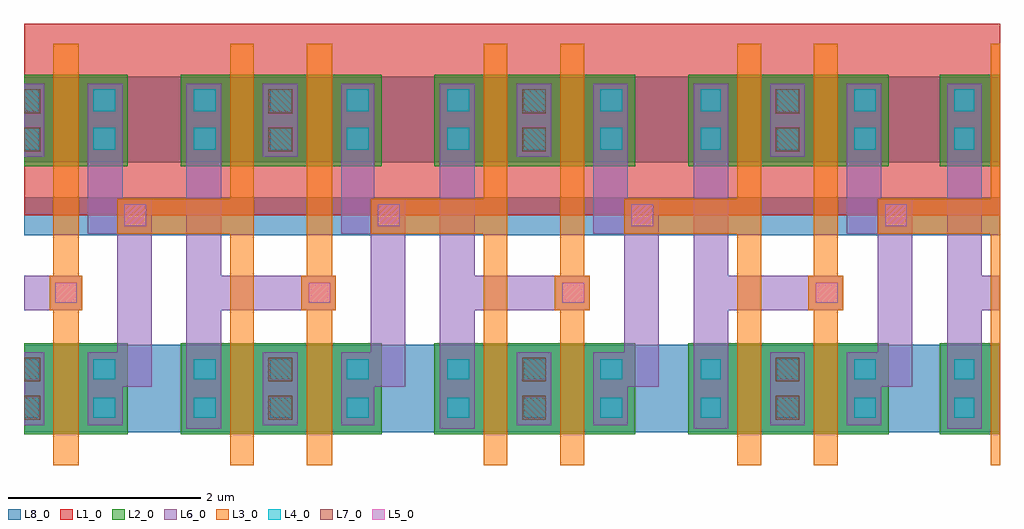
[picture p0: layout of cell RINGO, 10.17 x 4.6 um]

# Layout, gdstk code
import gdstk
lib = gdstk.Library(unit=1e-6, precision=1e-09)
def R(c, l, rs):  # rectangles x0, y0, x1, y1
    for r in rs: c.add(gdstk.rectangle(r[:2], r[2:], *l))
def P(c, l, *ps):  # polygons
    for p in ps: c.add(gdstk.Polygon(p, *l))
L1_0 = (1, 0)
L2_0 = (2, 0)
L3_0 = (3, 0)
L4_0 = (4, 0)
L5_0 = (5, 0)
L6_0 = (6, 0)
L7_0 = (7, 0)
L8_0 = (8, 0)

trans = lib.new_cell('TRANS')

inv2 = lib.new_cell('INV2')
inv2.add(gdstk.Reference(trans, (-0.4,0)))
inv2.add(gdstk.Reference(trans, (-0.4,2.8)))
inv2.add(gdstk.Reference(trans, (0.4,0), x_reflection=True))
inv2.add(gdstk.Reference(trans, (0.4,2.8), x_reflection=True))

trans_clip_var = lib.new_cell('TRANS$CLIP_VAR')
R(trans_clip_var, L2_0, [(0.363,-0.475,0.648,0.475)])
R(trans_clip_var, L4_0, [(0.363,-0.304,0.515,-0.095), (0.363,0.095,0.515,0.304)])
R(trans_clip_var, L6_0, [(0.363,-0.38,0.572,0.38)])

trans_clip_var_1 = lib.new_cell('TRANS$CLIP_VAR$1')
R(trans_clip_var_1, L2_0, [(-0.437,-0.475,0.646,0.475)])
R(trans_clip_var_1, L3_0, [(-0.133,-0.798,0.133,0.798)])
R(trans_clip_var_1, L4_0, [(-0.437,-0.304,-0.285,-0.095), (0.285,-0.304,0.513,-0.095), (-0.437,0.095,-0.285,0.304), (0.285,0.095,0.513,0.304)])
R(trans_clip_var_1, L6_0, [(-0.437,-0.38,-0.228,0.38), (0.228,-0.38,0.589,0.38)])

trans_clip_var_1_var1 = lib.new_cell('TRANS$CLIP_VAR$1$VAR1')
R(trans_clip_var_1_var1, L2_0, [(-0.437,-0.468,0.646,0.482)])
R(trans_clip_var_1_var1, L3_0, [(-0.133,-0.791,0.133,0.805)])
R(trans_clip_var_1_var1, L4_0, [(-0.437,-0.316,-0.285,-0.088), (0.285,-0.316,0.513,-0.088), (-0.437,0.083,-0.285,0.311), (0.285,0.083,0.513,0.311)])
R(trans_clip_var_1_var1, L6_0, [(-0.437,-0.373,-0.228,0.387), (0.228,-0.373,0.589,0.387)])

trans_clip_var_var1 = lib.new_cell('TRANS$CLIP_VAR$VAR1')
R(trans_clip_var_var1, L2_0, [(0.363,-0.482,0.648,0.468)])
R(trans_clip_var_var1, L4_0, [(0.363,-0.311,0.515,-0.083), (0.363,0.088,0.515,0.316)])
R(trans_clip_var_var1, L6_0, [(0.363,-0.387,0.572,0.373)])

inv2_clip_var = lib.new_cell('INV2$CLIP_VAR')
R(inv2_clip_var, L1_0, [(-0.037,1.805,1.407,3.8)])
R(inv2_clip_var, L3_0, [(0.267,-0.247,0.533,2.242), (0.229,0.817,0.571,1.178)])
R(inv2_clip_var, L5_0, [(0.286,0.893,0.514,1.102)])
R(inv2_clip_var, L6_0, [(-0.037,0.817,0.571,1.178)])
P(inv2_clip_var, L6_0, [(0.799,0.019),(0.799,0.38),(0.932,0.38),(0.932,1.615),(0.628,1.615),(0.628,2.413),(0.989,2.413),(0.989,1.976),(1.293,1.976),(1.293,0.019)])
R(inv2_clip_var, L7_0, [(-0.037,-0.323,0.134,-0.076), (-0.037,0.076,0.134,0.323), (-0.037,2.47,0.134,2.717), (-0.037,2.869,0.134,3.116)])
R(inv2_clip_var, L8_0, [(-0.037,-0.456,1.407,0.456), (-0.037,2.356,1.407,3.249)])
inv2_clip_var.add(gdstk.Reference(trans_clip_var, (-0.4,0)))
inv2_clip_var.add(gdstk.Reference(trans_clip_var_1, (0.4,0), x_reflection=True))
inv2_clip_var.add(gdstk.Reference(trans_clip_var_1_var1, (0.4,2.8), x_reflection=True))
inv2_clip_var.add(gdstk.Reference(trans_clip_var_var1, (-0.4,2.8)))

trans_1 = lib.new_cell('TRANS$1')
R(trans_1, L2_0, [(-0.641,-0.475,0.651,0.475)])
R(trans_1, L3_0, [(-0.128,-0.798,0.119,0.798)])
R(trans_1, L4_0, [(-0.508,-0.304,-0.299,-0.095), (0.29,-0.304,0.518,-0.095), (-0.508,0.095,-0.299,0.304), (0.29,0.095,0.518,0.304)])
R(trans_1, L6_0, [(-0.584,-0.38,-0.223,0.38), (0.214,-0.38,0.575,0.38)])

trans_var2 = lib.new_cell('TRANS$VAR2')
R(trans_var2, L2_0, [(-0.643,-0.475,0.649,0.475)])
R(trans_var2, L3_0, [(-0.13,-0.798,0.117,0.798)])
R(trans_var2, L4_0, [(-0.51,-0.304,-0.282,-0.095), (0.288,-0.304,0.516,-0.095), (-0.51,0.095,-0.282,0.304), (0.288,0.095,0.516,0.304)])
R(trans_var2, L6_0, [(-0.586,-0.38,-0.225,0.38), (0.212,-0.38,0.573,0.38)])

trans_var6 = lib.new_cell('TRANS$VAR6')
R(trans_var6, L2_0, [(-0.641,-0.482,0.651,0.468)])
R(trans_var6, L3_0, [(-0.128,-0.805,0.119,0.791)])
R(trans_var6, L4_0, [(-0.508,-0.311,-0.299,-0.083), (0.29,-0.311,0.518,-0.083), (-0.508,0.088,-0.299,0.316), (0.29,0.088,0.518,0.316)])
R(trans_var6, L6_0, [(-0.584,-0.387,-0.223,0.373), (0.214,-0.387,0.575,0.373)])

trans_var8 = lib.new_cell('TRANS$VAR8')
R(trans_var8, L2_0, [(-0.643,-0.468,0.649,0.482)])
R(trans_var8, L3_0, [(-0.13,-0.791,0.117,0.805)])
R(trans_var8, L4_0, [(-0.51,-0.316,-0.282,-0.088), (0.288,-0.316,0.516,-0.088), (-0.51,0.083,-0.282,0.311), (0.288,0.083,0.516,0.311)])
R(trans_var8, L6_0, [(-0.586,-0.373,-0.225,0.387), (0.212,-0.373,0.573,0.387)])

inv2_1 = lib.new_cell('INV2$1')
R(inv2_1, L1_0, [(-1.402,1.805,1.391,3.8)])
R(inv2_1, L3_0, [(-0.528,-0.247,-0.281,2.242), (0.27,-0.247,0.517,2.242), (0.213,0.817,0.574,1.178), (-1.706,1.615,-0.395,1.976)])
R(inv2_1, L5_0, [(0.289,0.893,0.517,1.102), (-1.63,1.691,-1.402,1.919)])
R(inv2_1, L6_0, [(-0.984,-0.418,-0.623,2.413), (-0.794,0.817,0.574,1.178)])
P(inv2_1, L6_0, [(0.802,0.019),(0.802,0.38),(0.935,0.38),(0.935,1.615),(0.612,1.615),(0.612,2.413),(0.973,2.413),(0.973,1.976),(1.296,1.976),(1.296,0.019)])
R(inv2_1, L7_0, [(-0.129,-0.323,0.118,-0.076), (-0.129,0.076,0.118,0.323), (-0.129,2.47,0.118,2.717), (-0.129,2.869,0.118,3.116)])
R(inv2_1, L8_0, [(-1.402,-0.456,1.391,0.456), (-1.402,2.356,1.391,3.249)])
inv2_1.add(gdstk.Reference(trans_1, (-0.4,0)))
inv2_1.add(gdstk.Reference(trans_var2, (0.4,0), x_reflection=True))
inv2_1.add(gdstk.Reference(trans_var6, (-0.4,2.8)))
inv2_1.add(gdstk.Reference(trans_var8, (0.4,2.8), x_reflection=True))

trans_clip_var_2 = lib.new_cell('TRANS$CLIP_VAR$2')
R(trans_clip_var_2, L2_0, [(-0.659,-0.475,-0.032,0.475)])
R(trans_clip_var_2, L3_0, [(-0.127,-0.798,-0.032,0.798)])
R(trans_clip_var_2, L4_0, [(-0.507,-0.304,-0.298,-0.095), (-0.507,0.095,-0.298,0.304)])
R(trans_clip_var_2, L6_0, [(-0.583,-0.38,-0.222,0.38)])

trans_clip_var_2_var1 = lib.new_cell('TRANS$CLIP_VAR$2$VAR1')
R(trans_clip_var_2_var1, L2_0, [(-0.659,-0.482,-0.032,0.468)])
R(trans_clip_var_2_var1, L3_0, [(-0.127,-0.805,-0.032,0.791)])
R(trans_clip_var_2_var1, L4_0, [(-0.507,-0.311,-0.298,-0.083), (-0.507,0.088,-0.298,0.316)])
R(trans_clip_var_2_var1, L6_0, [(-0.583,-0.387,-0.222,0.373)])

inv2_clip_var_1 = lib.new_cell('INV2$CLIP_VAR$1')
R(inv2_clip_var_1, L1_0, [(-1.401,1.805,-0.432,3.8)])
R(inv2_clip_var_1, L3_0, [(-0.527,-0.247,-0.432,2.242), (-1.705,1.615,-0.432,1.976)])
R(inv2_clip_var_1, L5_0, [(-1.629,1.691,-1.401,1.919)])
R(inv2_clip_var_1, L6_0, [(-0.983,-0.418,-0.622,2.413), (-0.793,0.817,-0.432,1.178)])
R(inv2_clip_var_1, L8_0, [(-1.401,-0.456,-0.432,0.456), (-1.401,2.356,-0.432,3.249)])
inv2_clip_var_1.add(gdstk.Reference(trans_clip_var_2, (-0.4,0)))
inv2_clip_var_1.add(gdstk.Reference(trans_clip_var_2_var1, (-0.4,2.8)))

trans_var1 = lib.new_cell('TRANS$VAR1')
R(trans_var1, L2_0, [(-0.642,-0.475,0.65,0.475)])
R(trans_var1, L3_0, [(-0.129,-0.798,0.118,0.798)])
R(trans_var1, L4_0, [(-0.509,-0.304,-0.281,-0.095), (0.289,-0.304,0.517,-0.095), (-0.509,0.095,-0.281,0.304), (0.289,0.095,0.517,0.304)])
R(trans_var1, L6_0, [(-0.585,-0.38,-0.224,0.38), (0.213,-0.38,0.574,0.38)])

trans_var4 = lib.new_cell('TRANS$VAR4')
R(trans_var4, L2_0, [(-0.644,-0.475,0.648,0.475)])
R(trans_var4, L3_0, [(-0.131,-0.798,0.116,0.798)])
R(trans_var4, L4_0, [(-0.511,-0.304,-0.283,-0.095), (0.287,-0.304,0.515,-0.095), (-0.511,0.095,-0.283,0.304), (0.287,0.095,0.515,0.304)])
R(trans_var4, L6_0, [(-0.587,-0.38,-0.226,0.38), (0.211,-0.38,0.572,0.38)])

trans_var7 = lib.new_cell('TRANS$VAR7')
R(trans_var7, L2_0, [(-0.642,-0.482,0.65,0.468)])
R(trans_var7, L3_0, [(-0.129,-0.805,0.118,0.791)])
R(trans_var7, L4_0, [(-0.509,-0.311,-0.281,-0.083), (0.289,-0.311,0.517,-0.083), (-0.509,0.088,-0.281,0.316), (0.289,0.088,0.517,0.316)])
R(trans_var7, L6_0, [(-0.585,-0.387,-0.224,0.373), (0.213,-0.387,0.574,0.373)])

trans_var10 = lib.new_cell('TRANS$VAR10')
R(trans_var10, L2_0, [(-0.644,-0.468,0.648,0.482)])
R(trans_var10, L3_0, [(-0.131,-0.791,0.116,0.805)])
R(trans_var10, L4_0, [(-0.511,-0.316,-0.283,-0.088), (0.287,-0.316,0.515,-0.088), (-0.511,0.083,-0.283,0.311), (0.287,0.083,0.515,0.311)])
R(trans_var10, L6_0, [(-0.587,-0.373,-0.226,0.387), (0.211,-0.373,0.572,0.387)])

inv2_var1 = lib.new_cell('INV2$VAR1')
R(inv2_var1, L1_0, [(-1.403,1.805,1.409,3.8)])
R(inv2_var1, L3_0, [(-0.529,-0.247,-0.282,2.242), (0.269,-0.247,0.516,2.242), (0.212,0.817,0.573,1.178), (-1.707,1.615,-0.396,1.976)])
R(inv2_var1, L5_0, [(0.288,0.893,0.516,1.102), (-1.631,1.691,-1.403,1.919)])
R(inv2_var1, L6_0, [(-0.985,-0.418,-0.624,2.413), (-0.795,0.817,0.573,1.178)])
P(inv2_var1, L6_0, [(0.801,0.019),(0.801,0.38),(0.934,0.38),(0.934,1.615),(0.611,1.615),(0.611,2.413),(0.972,2.413),(0.972,1.976),(1.295,1.976),(1.295,0.019)])
R(inv2_var1, L7_0, [(-0.13,-0.323,0.117,-0.076), (-0.13,0.076,0.117,0.323), (-0.13,2.47,0.117,2.717), (-0.13,2.869,0.117,3.116)])
R(inv2_var1, L8_0, [(-1.403,-0.456,1.409,0.456), (-1.403,2.356,1.409,3.249)])
inv2_var1.add(gdstk.Reference(trans_var1, (-0.4,0)))
inv2_var1.add(gdstk.Reference(trans_var4, (0.4,0), x_reflection=True))
inv2_var1.add(gdstk.Reference(trans_var7, (-0.4,2.8)))
inv2_var1.add(gdstk.Reference(trans_var10, (0.4,2.8), x_reflection=True))

trans_var3 = lib.new_cell('TRANS$VAR3')
R(trans_var3, L2_0, [(-0.643,-0.475,0.649,0.475)])
R(trans_var3, L3_0, [(-0.13,-0.798,0.117,0.798)])
R(trans_var3, L4_0, [(-0.51,-0.304,-0.282,-0.095), (0.288,-0.304,0.516,-0.095), (-0.51,0.095,-0.282,0.304), (0.288,0.095,0.516,0.304)])
R(trans_var3, L6_0, [(-0.586,-0.38,-0.225,0.38), (0.212,-0.38,0.573,0.38)])

trans_var5 = lib.new_cell('TRANS$VAR5')
R(trans_var5, L2_0, [(-0.645,-0.475,0.647,0.475)])
R(trans_var5, L3_0, [(-0.132,-0.798,0.134,0.798)])
R(trans_var5, L4_0, [(-0.512,-0.304,-0.284,-0.095), (0.286,-0.304,0.514,-0.095), (-0.512,0.095,-0.284,0.304), (0.286,0.095,0.514,0.304)])
R(trans_var5, L6_0, [(-0.588,-0.38,-0.227,0.38), (0.229,-0.38,0.571,0.38)])

trans_var9 = lib.new_cell('TRANS$VAR9')
R(trans_var9, L2_0, [(-0.643,-0.482,0.649,0.468)])
R(trans_var9, L3_0, [(-0.13,-0.805,0.117,0.791)])
R(trans_var9, L4_0, [(-0.51,-0.311,-0.282,-0.083), (0.288,-0.311,0.516,-0.083), (-0.51,0.088,-0.282,0.316), (0.288,0.088,0.516,0.316)])
R(trans_var9, L6_0, [(-0.586,-0.387,-0.225,0.373), (0.212,-0.387,0.573,0.373)])

trans_var11 = lib.new_cell('TRANS$VAR11')
R(trans_var11, L2_0, [(-0.645,-0.468,0.647,0.482)])
R(trans_var11, L3_0, [(-0.132,-0.791,0.134,0.805)])
R(trans_var11, L4_0, [(-0.512,-0.316,-0.284,-0.088), (0.286,-0.316,0.514,-0.088), (-0.512,0.083,-0.284,0.311), (0.286,0.083,0.514,0.311)])
R(trans_var11, L6_0, [(-0.588,-0.373,-0.227,0.387), (0.229,-0.373,0.571,0.387)])

inv2_var2 = lib.new_cell('INV2$VAR2')
R(inv2_var2, L1_0, [(-1.404,1.805,1.408,3.8)])
R(inv2_var2, L3_0, [(-0.53,-0.247,-0.283,2.242), (0.268,-0.247,0.534,2.242), (0.211,0.817,0.572,1.178), (-1.708,1.615,-0.397,1.976)])
R(inv2_var2, L5_0, [(0.287,0.893,0.515,1.102), (-1.632,1.691,-1.404,1.919)])
R(inv2_var2, L6_0, [(-0.986,-0.418,-0.625,2.413), (-0.796,0.817,0.572,1.178)])
P(inv2_var2, L6_0, [(0.8,0.019),(0.8,0.38),(0.933,0.38),(0.933,1.615),(0.629,1.615),(0.629,2.413),(0.971,2.413),(0.971,1.976),(1.294,1.976),(1.294,0.019)])
R(inv2_var2, L7_0, [(-0.131,-0.323,0.116,-0.076), (-0.131,0.076,0.116,0.323), (-0.131,2.47,0.116,2.717), (-0.131,2.869,0.116,3.116)])
R(inv2_var2, L8_0, [(-1.404,-0.456,1.408,0.456), (-1.404,2.356,1.408,3.249)])
inv2_var2.add(gdstk.Reference(trans_var3, (-0.4,0)))
inv2_var2.add(gdstk.Reference(trans_var5, (0.4,0), x_reflection=True))
inv2_var2.add(gdstk.Reference(trans_var9, (-0.4,2.8)))
inv2_var2.add(gdstk.Reference(trans_var11, (0.4,2.8), x_reflection=True))

ringo = lib.new_cell('RINGO')
R(ringo, L8_0, [(2.603,1.596,12.768,1.995)])
ringo.add(gdstk.Reference(inv2, (0,0)))
ringo.add(gdstk.Reference(inv2, (2.64,0)))
ringo.add(gdstk.Reference(inv2, (5.28,0)))
ringo.add(gdstk.Reference(inv2, (7.92,0)))
ringo.add(gdstk.Reference(inv2, (10.56,0)))
ringo.add(gdstk.Reference(inv2, (13.2,0)))
ringo.add(gdstk.Reference(inv2, (15.84,0)))
ringo.add(gdstk.Reference(inv2, (18.48,0)))
ringo.add(gdstk.Reference(inv2, (21.12,0)))
ringo.add(gdstk.Reference(inv2, (23.76,0)))
ringo.add(gdstk.Reference(inv2_clip_var, (2.64,0)))
ringo.add(gdstk.Reference(inv2_1, (10.56,0)))
ringo.add(gdstk.Reference(inv2_clip_var_1, (13.2,0)))
ringo.add(gdstk.Reference(inv2_var1, (7.92,0)))
ringo.add(gdstk.Reference(inv2_var2, (5.28,0)))

lib.write_gds('RINGO.gds')
